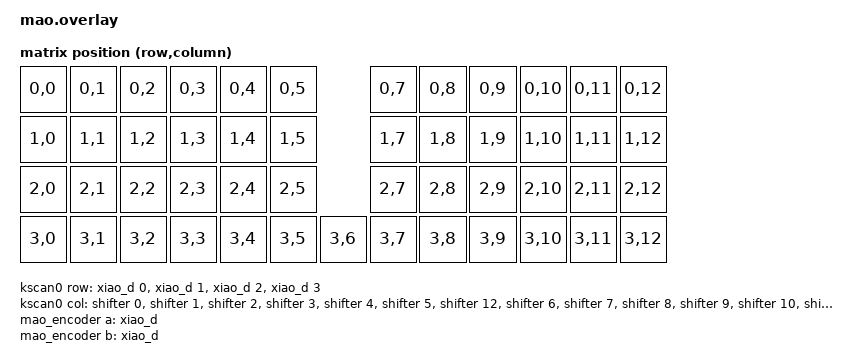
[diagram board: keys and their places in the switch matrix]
/*
 * Copyright (c) 2020 The ZMK Contributors
 *
 * SPDX-License-Identifier: MIT
 */

#include <dt-bindings/zmk/matrix_transform.h>

&xiao_serial { status = "disabled"; };

&xiao_spi {
	status = "okay";
	cs-gpios = <&xiao_d 7 GPIO_ACTIVE_LOW>;
	shifter: 595@0 {
		compatible = "zmk,gpio-595";
		status = "okay";
		gpio-controller;
		spi-max-frequency = <200000>;
		reg = <0>;
		label = "4HC595";
		#gpio-cells = <2>;
		ngpios = <16>;
	};
};

/ {
	chosen {
		zmk,kscan = &kscan0;
		zmk,matrix_transform = &default_transform;
		zmk,led-widgets-dev = &leds;
	};


	default_transform: keymap_transform_0 {
		compatible = "zmk,matrix-transform";
		columns = <13>;
		rows = <4>;
	
		map = <
RC(0,0) RC(0,1) RC(0,2) RC(0,3) RC(0,4) RC(0,5) 	RC(0,7) RC(0,8) RC(0,9) RC(0,10) RC(0,11) RC(0,12) 
RC(1,0) RC(1,1) RC(1,2) RC(1,3) RC(1,4) RC(1,5) 	RC(1,7) RC(1,8) RC(1,9) RC(1,10) RC(1,11) RC(1,12) 
RC(2,0) RC(2,1) RC(2,2) RC(2,3) RC(2,4) RC(2,5) 	RC(2,7) RC(2,8) RC(2,9) RC(2,10) RC(2,11) RC(2,12) 
RC(3,0) RC(3,1) RC(3,2) RC(3,3) RC(3,4) RC(3,5) RC(3,6)	RC(3,7) RC(3,8) RC(3,9) RC(3,10) RC(3,11) RC(3,12)
		>;
	};

	kscan0: kscan_0 {
		compatible = "zmk,kscan-gpio-matrix";
		label = "KSCAN";
		diode-direction = "col2row";
		debounce-press-ms = <1>;
		debounce-release-ms = <5>;
		
		col-gpios
			= <&shifter 0 GPIO_ACTIVE_HIGH>
			, <&shifter 1 GPIO_ACTIVE_HIGH>
			, <&shifter 2 GPIO_ACTIVE_HIGH>
			, <&shifter 3 GPIO_ACTIVE_HIGH>
			, <&shifter 4 GPIO_ACTIVE_HIGH>
			, <&shifter 5 GPIO_ACTIVE_HIGH>
			, <&shifter 12 GPIO_ACTIVE_HIGH>
			, <&shifter 6 GPIO_ACTIVE_HIGH>
			, <&shifter 7 GPIO_ACTIVE_HIGH>
			, <&shifter 8 GPIO_ACTIVE_HIGH>
			, <&shifter 9 GPIO_ACTIVE_HIGH>
			, <&shifter 10 GPIO_ACTIVE_HIGH>
			, <&shifter 11 GPIO_ACTIVE_HIGH>
			;
		
		row-gpios
			= <&xiao_d 0 (GPIO_ACTIVE_HIGH | GPIO_PULL_DOWN)>
			, <&xiao_d 1 (GPIO_ACTIVE_HIGH | GPIO_PULL_DOWN)>
			, <&xiao_d 2 (GPIO_ACTIVE_HIGH | GPIO_PULL_DOWN)>
			, <&xiao_d 3 (GPIO_ACTIVE_HIGH | GPIO_PULL_DOWN)>
			;
	};

    leds: leds {
        compatible = "pwm-leds";
        red_led: led_r {
            pwms = <&pwm0 26>;
            label = "Red LED";
        };
        green_led: led_g {
            pwms = <&pwm0 30>;
            label = "Green LED";
        };
        blue_led: led_b {
            pwms = <&pwm0 6>;
            label = "Blue LED";
        };
    };

    led-widgets {
        compatible = "zmk,led-widgets";
        boot {
            boot {
                priority = <100>;
                blue { len-ms = <100>; brightness = <0 0 50>; };
                off { len-ms = <100>; };
                blue2 { len-ms = <100>; brightness = <0 0 50>; };
            };
        };
        layer {
            lower {
                arg = <1>;
                priority = <20>;
                stat { brightness = <0 0 20>; };
            };
            raise {
                arg = <2>;
                priority = <20>;
                stat { brightness = <0 20 0>; };
            };
            game {
                arg = <3>;
                priority = <20>;
                stat { brightness = <0 0 50>; };
            };
        };

   mao_encoder: mao_encoder {
     compatible = "alps,ec11";
     label = "mao encoder";
     a-gpios = <&xiao_d 9(GPIO_ACTIVE_HIGH | GPIO_PULL_UP)>;
     b-gpios = <&xiao_d 6(GPIO_ACTIVE_HIGH | GPIO_PULL_UP)>;
     resolution = <4>;
   };

   sensors {
     compatible = "zmk,keymap-sensors";
     sensors = <&mao_encoder>;
   };	
};

};
&mao_encoder { 
  status = "okay"; 
};
&pwm0 {
    status = "okay";
    ch0-pin = <26>;
    ch1-pin = <30>;
    ch2-pin = <6>;
    ch0-inverted;
    ch1-inverted;
    ch2-inverted;
};
